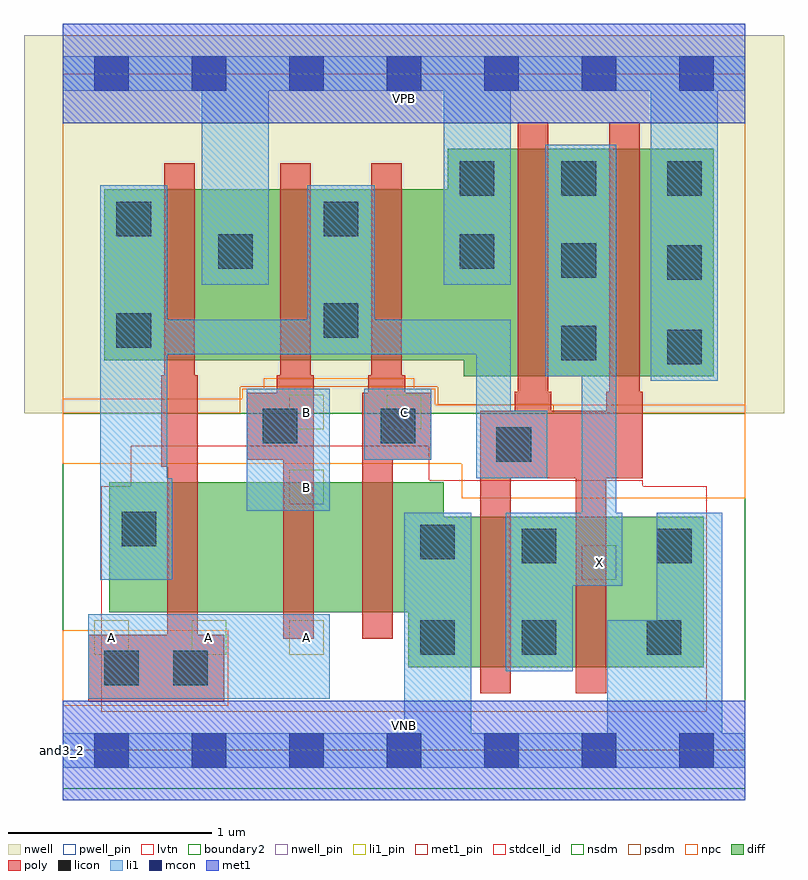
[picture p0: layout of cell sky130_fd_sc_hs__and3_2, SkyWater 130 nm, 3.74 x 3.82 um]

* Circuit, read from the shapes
.subckt sky130_fd_sc_hs__and3_2 A B C VGND VNB VPB VPWR X
XM1 n1 A n2 VNB sky130_fd_pr__nfet_01v8_lvt w=0.64 l=0.15
XM2 n3 B n1 VNB sky130_fd_pr__nfet_01v8_lvt w=0.64 l=0.15
XM3 VGND C n3 VNB sky130_fd_pr__nfet_01v8_lvt w=0.64 l=0.15
XM4 X n2 VGND VNB sky130_fd_pr__nfet_01v8_lvt w=0.74 l=0.15 m=2
XM5 VPWR A n2 VPB sky130_fd_pr__pfet_01v8 w=0.84 l=0.15
XM6 n2 B VPWR VPB sky130_fd_pr__pfet_01v8 w=0.84 l=0.15
XM7 VPWR C n2 VPB sky130_fd_pr__pfet_01v8 w=0.84 l=0.15
XM8 X n2 VPWR VPB sky130_fd_pr__pfet_01v8 w=1.12 l=0.15 m=2
.ends

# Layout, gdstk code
import gdstk
lib = gdstk.Library(unit=1e-6, precision=1e-09)
def R(c, l, rs):  # rectangles x0, y0, x1, y1
    for r in rs: c.add(gdstk.rectangle(r[:2], r[2:], *l))
def A(c, l, x, y, w, h, nx, ny, dx, dy):  # array of equal rectangles
    R(c, l, [(x+i*dx, y+j*dy, x+i*dx+w, y+j*dy+h) for i in range(nx) for j in range(ny)])
def P(c, l, *ps):  # polygons
    for p in ps: c.add(gdstk.Polygon(p, *l))
nwell_pin = (64, 16)
nwell = (64, 20)
diff = (65, 20)
poly = (66, 20)
licon = (66, 44)
li1_pin = (67, 16)
li1 = (67, 20)
mcon = (67, 44)
met1_pin = (68, 16)
met1 = (68, 20)
stdcell_id = (81, 4)
nsdm = (93, 44)
psdm = (94, 20)
npc = (95, 20)
pwell_pin = (122, 16)
lvtn = (125, 44)
boundary2 = (236, 0)

sky130_fd_sc_hs__and3_2 = lib.new_cell('sky130_fd_sc_hs__and3_2')
R(sky130_fd_sc_hs__and3_2, nwell_pin, [(0,3.085,3.36,3.33)])
R(sky130_fd_sc_hs__and3_2, nwell, [(-0.19,1.66,3.55,3.52)])
P(sky130_fd_sc_hs__and3_2, diff, [(3.205,2.96),(1.895,2.96),(1.895,2.76),(0.205,2.76),(0.205,1.92),(1.975,1.92),(1.975,1.84),(3.205,1.84)],
  [(3.155,1.15),(1.875,1.15),(1.875,1.32),(0.23,1.32),(0.23,0.68),(1.7,0.68),(1.7,0.41),(3.155,0.41)])
P(sky130_fd_sc_hs__and3_2, poly, [(0.795,0.57),(0.665,0.57),(0.665,1.845),(0.65,1.845),(0.65,2.89),(0.5,2.89),(0.5,1.845),(0.485,1.845),(0.485,1.395),(0.515,1.395),(0.515,0.57),(0.125,0.57),(0.125,0.24),(0.795,0.24)],
  [(1.235,1.845),(1.22,1.845),(1.22,2.89),(1.07,2.89),(1.07,1.845),(1.055,1.845),(1.055,1.76),(0.905,1.76),(0.905,1.43),(1.085,1.43),(1.085,0.55),(1.235,0.55)],
  [(1.815,1.76),(1.685,1.76),(1.685,1.845),(1.67,1.845),(1.67,2.89),(1.52,2.89),(1.52,1.845),(1.505,1.845),(1.505,1.76),(1.475,1.76),(1.475,0.55),(1.625,0.55),(1.625,1.43),(1.815,1.43)],
  [(2.855,1.765),(2.84,1.765),(2.84,3.09),(2.69,3.09),(2.69,1.765),(2.675,1.765),(2.675,1.67),(2.405,1.67),(2.405,1.765),(2.39,1.765),(2.39,3.09),(2.24,3.09),(2.24,1.765),(2.225,1.765),(2.225,1.67),(2.055,1.67),(2.055,0.28),(2.205,0.28),(2.205,1.34),(2.525,1.34),(2.525,0.28),(2.675,0.28),(2.675,1.34),(2.855,1.34)])
A(sky130_fd_sc_hs__and3_2, licon, 2.975, 1.9, 0.17, 0.17, 1, 3, 0, 0.415)
A(sky130_fd_sc_hs__and3_2, licon, 2.455, 1.92, 0.17, 0.17, 1, 3, 0, 0.405)
R(sky130_fd_sc_hs__and3_2, licon, [(0.205,0.32,0.375,0.49), (0.545,0.32,0.715,0.49), (1.76,0.47,1.93,0.64), (2.26,0.47,2.43,0.64), (2.875,0.47,3.045,0.64), (2.26,0.92,2.43,1.09), (2.925,0.92,3.095,1.09), (1.76,0.94,1.93,1.11), (0.29,1.005,0.46,1.175), (2.135,1.42,2.305,1.59), (0.985,1.51,1.155,1.68), (1.565,1.51,1.735,1.68), (0.265,1.98,0.435,2.15), (1.285,2.03,1.455,2.2), (0.765,2.37,0.935,2.54), (1.955,2.37,2.125,2.54), (0.265,2.53,0.435,2.7), (1.285,2.53,1.455,2.7), (1.955,2.73,2.125,2.9)])
A(sky130_fd_sc_hs__and3_2, li1_pin, 0.155, 0.47, 0.17, 0.17, 3, 1, 0.48, 0)
R(sky130_fd_sc_hs__and3_2, li1_pin, [(2.555,0.84,2.725,1.01), (1.115,1.21,1.285,1.38), (1.115,1.58,1.285,1.75), (1.595,1.58,1.765,1.75)])
R(sky130_fd_sc_hs__and3_2, li1, [(0.125,0.255,1.315,0.67), (0.905,1.18,1.315,1.78), (1.485,1.43,1.815,1.78)])
P(sky130_fd_sc_hs__and3_2, li1, [(3.36,0.085),(3.245,0.085),(3.245,1.17),(2.925,1.17),(2.925,0.64),(2.68,0.64),(2.68,0.085),(2.01,0.085),(2.01,1.17),(1.68,1.17),(1.68,0.085),(0,0.085),(0,-0.085),(3.36,-0.085)],
  [(0,3.245),(0,3.415),(3.36,3.415),(3.36,3.245),(3.225,3.245),(3.225,1.82),(2.895,1.82),(2.895,3.245),(2.205,3.245),(2.205,2.29),(1.875,2.29),(1.875,3.245),(1.015,3.245),(1.015,2.29),(0.685,2.29),(0.685,3.245)],
  [(2.18,0.39),(2.18,1.17),(2.555,1.17),(2.555,1.84),(2.375,1.84),(2.375,2.98),(2.725,2.98),(2.725,1.17),(2.755,1.17),(2.755,0.81),(2.51,0.81),(2.51,0.39)],
  [(0.515,2.12),(1.205,2.12),(1.205,2.78),(1.535,2.78),(1.535,2.12),(2.205,2.12),(2.205,1.67),(2.385,1.67),(2.385,1.34),(2.035,1.34),(2.035,1.95),(0.515,1.95),(0.515,1.34),(0.54,1.34),(0.54,0.84),(0.185,0.84),(0.185,2.78),(0.515,2.78)])
A(sky130_fd_sc_hs__and3_2, mcon, 0.155, -0.085, 0.17, 0.17, 7, 2, 0.48, 3.33)
R(sky130_fd_sc_hs__and3_2, met1_pin, [(0,0,3.36,0.245), (0,3.085,3.36,3.33)])
R(sky130_fd_sc_hs__and3_2, met1, [(0,-0.245,3.36,0.245), (0,3.085,3.36,3.575)])
R(sky130_fd_sc_hs__and3_2, stdcell_id, [(0,0,3.36,3.33)])
R(sky130_fd_sc_hs__and3_2, nsdm, [(0,-0.19,3.36,1.66)])
P(sky130_fd_sc_hs__and3_2, psdm, [(3.36,3.52),(0,3.52),(0,1.66),(0.875,1.66),(0.875,1.79),(1.845,1.79),(1.845,1.7),(2.415,1.7),(2.415,1.66),(3.36,1.66)])
R(sky130_fd_sc_hs__and3_2, npc, [(0,0.22,0.815,0.59)])
P(sky130_fd_sc_hs__and3_2, npc, [(3.36,1.7),(1.835,1.7),(1.835,1.78),(1.73,1.78),(1.73,1.83),(0.99,1.83),(0.99,1.78),(0.885,1.78),(0.885,1.73),(0,1.73),(0,1.41),(1.965,1.41),(1.965,1.24),(3.36,1.24)])
R(sky130_fd_sc_hs__and3_2, pwell_pin, [(0,0,3.36,0.245)])
P(sky130_fd_sc_hs__and3_2, lvtn, [(3.17,1.3),(2.855,1.3),(2.855,1.33),(1.805,1.33),(1.805,1.5),(0.335,1.5),(0.335,1.3),(0.19,1.3),(0.19,0.19),(3.17,0.19)])
R(sky130_fd_sc_hs__and3_2, boundary2, [(0,0,3.36,3.33)])
sky130_fd_sc_hs__and3_2.add(gdstk.Label('and3_2', (0,0), layer=83, texttype=44))
sky130_fd_sc_hs__and3_2.add(gdstk.Label('VNB', (1.68,0.123), layer=64, texttype=59))
sky130_fd_sc_hs__and3_2.add(gdstk.Label('VPB', (1.68,3.208), layer=64, texttype=5))
sky130_fd_sc_hs__and3_2.add(gdstk.Label('VPWR', (1.68,3.208), layer=68, texttype=5))
sky130_fd_sc_hs__and3_2.add(gdstk.Label('VGND', (1.68,0.123), layer=68, texttype=5))
sky130_fd_sc_hs__and3_2.add(gdstk.Label('C', (1.68,1.665), layer=67, texttype=5))
sky130_fd_sc_hs__and3_2.add(gdstk.Label('X', (2.64,0.925), layer=67, texttype=5))
sky130_fd_sc_hs__and3_2.add(gdstk.Label('A', (0.24,0.555), layer=67, texttype=5))
sky130_fd_sc_hs__and3_2.add(gdstk.Label('A', (0.72,0.555), layer=67, texttype=5))
sky130_fd_sc_hs__and3_2.add(gdstk.Label('A', (1.2,0.555), layer=67, texttype=5))
sky130_fd_sc_hs__and3_2.add(gdstk.Label('B', (1.2,1.295), layer=67, texttype=5))
sky130_fd_sc_hs__and3_2.add(gdstk.Label('B', (1.2,1.665), layer=67, texttype=5))

lib.write_gds('sky130_fd_sc_hs__and3_2.gds')
